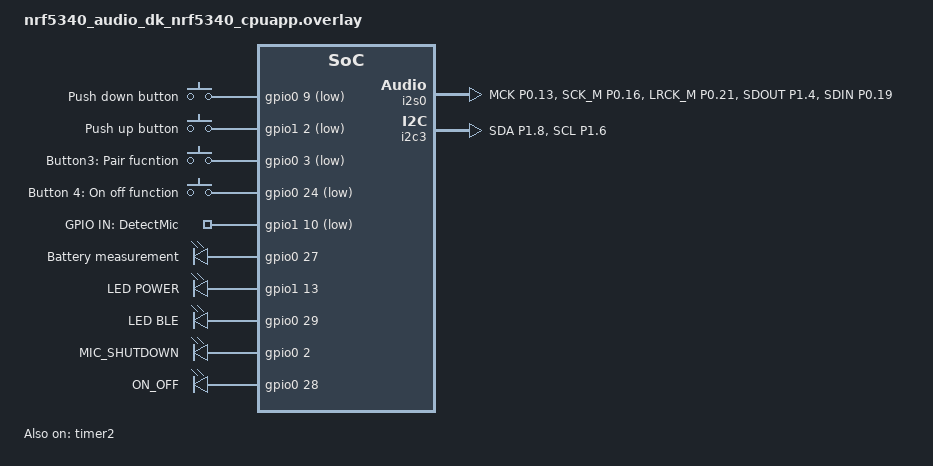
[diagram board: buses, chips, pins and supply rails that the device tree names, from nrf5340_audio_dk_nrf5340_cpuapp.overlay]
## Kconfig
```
#
# Copyright (c) 2018 Nordic Semiconductor ASA
#
# SPDX-License-Identifier: LicenseRef-Nordic-5-Clause
#

menuconfig NRF5340_AUDIO
	 bool "nRF5340 Audio [EXPERIMENTAL]"
	 select EXPERIMENTAL

if NRF5340_AUDIO

config AUDIO_DEV
	int "Select which device type to compile for. 1=HEADSET or 2=GATEWAY"
	range 1 2
	default 1
	help
	  Setting this variable to 1 selects that the project is compiled
	  as a HEADSET device.
	  Setting to 2 will compile as a GATEWAY.
config AUDIO_HARDWARE_CODEC
	int "Select which codec type is for. 1=ES8311 or 2=ES8388"
	range 1 2
	default 1
	help
	  Setting this variable to 1 selects that the project is compiled
	  as a ES8311 device.
	  Setting to 2 will compile as a ES8388.

choice NRF5340_AUDIO_TRANSPORT_MODE
	prompt "Choose BIS or CIS for ISO transport"
	default TRANSPORT_CIS if WALKIE_TALKIE_DEMO
	default TRANSPORT_CIS

config TRANSPORT_BIS
	bool "Use BIS (Broadcast Isochronous Stream)"

config TRANSPORT_CIS
	bool "Use CIS (Connected Isochronous Stream)"

endchoice

#----------------------------------------------------------------------------#
rsource "Kconfig.defaults"
rsource "src/audio/Kconfig"
rsource "src/bluetooth/Kconfig"
rsource "src/drivers/Kconfig"
rsource "src/events/Kconfig"
rsource "src/modules/Kconfig"
rsource "src/utils/Kconfig"
rsource "dfu/conf/Kconfig.dfu"

#----------------------------------------------------------------------------#
menu "Logging"

module = MAIN
module-str = main
source "subsys/logging/Kconfig.template.log_config"

config PRINT_STACK_USAGE_MS
	depends on THREAD_ANALYZER && INIT_STACKS
	int "Print stack usage every x milliseconds"
	default 5000

endmenu # Log levels

#----------------------------------------------------------------------------#
endif # NRF5340_AUDIO

source "Kconfig.zephyr"
```

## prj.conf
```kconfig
#
# Copyright (c) 2022 Nordic Semiconductor ASA
#
# SPDX-License-Identifier: LicenseRef-Nordic-5-Clause
#

# nRF5340 Audio
CONFIG_NRF5340_AUDIO=y

# General
CONFIG_AUDIO_DEV=2
CONFIG_DEBUG_INFO=y
CONFIG_ASSERT=y
CONFIG_STACK_USAGE=y
CONFIG_THREAD_RUNTIME_STATS=y
CONFIG_STACK_SENTINEL=y
CONFIG_INIT_STACKS=y
CONFIG_TRANSPORT_BIS=y
CONFIG_TRANSPORT_CIS=n
CONFIG_AUDIO_HARDWARE_CODEC=2
CONFIG_BIS_STEREO_HEADSET=y

CONFIG_WATCHDOG=y
CONFIG_WDT_NRFX=y
CONFIG_NRFX_WDT0=y

CONFIG_BLE_CONN_TX_POWER_NEG_40DBM=y
CONFIG_BLE_ADV_TX_POWER_NEG_40DBM=y

#CONFIG_BT_CTRL=y
# CONFIG_BT_HCI_VS_EXT=y
# CONFIG_BT_CTLR=y
# CONFIG_BT_CTLR_TX_PWR_DYNAMIC_CONTROL=y
# Uart driver
CONFIG_SERIAL=y

# Logging
CONFIG_LOG=y
CONFIG_NEWLIB_LIBC_FLOAT_PRINTF=y
CONFIG_LOG_TAG_MAX_LEN=2
CONFIG_LOG_TAG_DEFAULT="--"
CONFIG_LOG_INFO_COLOR_GREEN=y
CONFIG_LOG_BUFFER_SIZE=8192

#CONFIG_LOG_BACKEND_RTT_BUFFER_SIZE=4096
# Console related defines
CONFIG_CONSOLE=y
CONFIG_RTT_CONSOLE=y
#CONFIG_UART_CONSOLE=n
# Shell related defines
CONFIG_SHELL=y
CONFIG_KERNEL_SHELL=y
CONFIG_USE_SEGGER_RTT=y
## Disable logs on RTT
#CONFIG_SHELL_RTT_INIT_LOG_LEVEL_NONE=n
CONFIG_SHELL_BACKEND_RTT=n
CONFIG_SHELL_BACKEND_SERIAL=n
CONFIG_SHELL_VT100_COLORS=y
CONFIG_SHELL_STACK_SIZE=1024
CONFIG_SHELL_CMD_BUFF_SIZE=128
## Reduce shell memory usage
CONFIG_SHELL_WILDCARD=n
CONFIG_SHELL_HELP_ON_WRONG_ARGUMENT_COUNT=n
CONFIG_SHELL_STATS=n
CONFIG_SHELL_CMDS=n
CONFIG_SHELL_HISTORY=y

# Turn off default shell commands
CONFIG_I2C_SHELL=n
#CONFIG_HWINFO_SHELL=n
CONFIG_CLOCK_CONTROL_NRF_SHELL=n
CONFIG_FLASH_SHELL=n
CONFIG_DEVICE_SHELL=n

# Suppress err msg from sd_check_card_type. Because SPI_SDHC has no card presence method,
# assume card is in slot. Thus error message is always shown if card is not inserted

CONFIG_AUDIO_SOURCE_I2S=y
CONFIG_AUDIO_SOURCE_USB=n
# CONFIG_STREAM_BIDIRECTIONAL=y
# CONFIG_WALKIE_TALKIE_DEMO=y

#config clock to run first 
CONFIG_CLOCK_CONTROL_NRF_K32SRC_RC=y
CONFIG_BT_SMP=y
CONFIG_CLOCK_CONTROL_NRF_K32SRC_500PPM=y
CONFIG_I2C=y
CONFIG_I2C_NRFX=y
# CONFIG_NRFX_TWIM1=y
# CONFIG_NRFX_TWIM0=y
CONFIG_NRFX_SPIM4=n
CONFIG_NRFX_SPIM0=n
#CONFIG_NRFX_UART0=n

CONFIG_DEBUG=y
CONFIG_SDHC=n
CONFIG_BT_DEVICE_NAME_DYNAMIC=y
CONFIG_BT_DEVICE_NAME="MICBLE"
CONFIG_BT_DEVICE_NAME_MAX=48
CONFIG_ENCODER_STACK_SIZE=16384
CONFIG_LC3_ENC_CHAN_MAX=2
CONFIG_CPU_LOAD=y
CONFIG_CPU_LOAD_LOG_PERIODIC=y
CONFIG_CPU_LOAD_LOG_INTERVAL=2000
CONFIG_FIFO_TX_FRAME_COUNT=6
#CONFIG_BT_AUDIO_BROADCAST_24_2_1=y
CONFIG_LC3_BITRATE=32000

#CONFIG_BT_AUDIO_BROADCAST_24_2_2=y
#CONFIG_BLE_LOG_LEVEL=5


# Enable the BLE stack with GATT Client configuration
CONFIG_BT=y


#This is the config for gateway using peripheral NUS
####################################################
#Enable the NUS service
CONFIG_BT_NUS=y
CONFIG_BT_PERIPHERAL=y
CONFIG_BT_DEVICE_APPEARANCE=833
CONFIG_BT_MAX_CONN=1
CONFIG_BT_MAX_PAIRED=1
# This example requires more workqueue stack
CONFIG_SYSTEM_WORKQUEUE_STACK_SIZE=2048
CONFIG_BT_EXT_ADV_MAX_ADV_SET=2
######################################################



#This is the config for speaker using central nus to exchange key and value data
######################################################
# Enable the BLE stack with GATT Client configuration
CONFIG_BT=y
CONFIG_BT_CENTRAL=y
CONFIG_BT_SMP=y
CONFIG_BT_GATT_CLIENT=y

# Enable the BLE modules from NCS
# CONFIG_BT_NUS_CLIENT=y
# CONFIG_BT_SCAN=y
# CONFIG_BT_SCAN_FILTER_ENABLE=y
# CONFIG_BT_SCAN_UUID_CNT=1
# CONFIG_BT_GATT_DM=y
# CONFIG_HEAP_MEM_POOL_SIZE=2048
# CONFIG_BT_SCAN_NAME_CNT=1
# # ## Config flash to 
CONFIG_FLASH=y
CONFIG_FLASH_PAGE_LAYOUT=y


CONFIG_NVS=y
CONFIG_LOG=y
CONFIG_NVS_LOG_LEVEL_DBG=n
CONFIG_REBOOT=y
CONFIG_MPU_ALLOW_FLASH_WRITE=y

# CONFIG_BT_AUDIO_DEBUG_BROADCAST_SINK=y
# CONFIG_BT_AUDIO_DEBUG_BROADCAST_SINK=y

# CONFIG_BT_DEBUG_LOG=y
# CONFIG_BT_DEBUG_HCI_CORE=y
# CONFIG_BT_DEBUG_ISO=y

#CONFIG_BT_AUTO_PHY_UPDATE=y
# ######################################################

#CONFIG_AUDIO_DFU_ENABLE=y
#CONFIG_AUDIO_DFU_ENABLE=y
# CONFIG_MCUMGR_CMD_IMG_MGMT=y
# CONFIG_MCUMGR_CMD_OS_MGMT=y
# CONFIG_AUDIO_DFU=1
# # CONFIG_PCD_APP=y
# # CONFIG_PCD_USE_CONSTANTS=y
# CONFIG_BOOTLOADER_MCUBOOT=y
#CONFIG_PCD_CMD_ADDRESS=
```

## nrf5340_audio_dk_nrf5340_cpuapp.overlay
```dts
// To get started, press Ctrl+Space to bring up the completion menu and view the available nodes.

// You can also use the buttons in the sidebar to perform actions on nodes.
// Actions currently available include:

// * Enabling / disabling the node
// * Adding the bus to a bus
// * Removing the node
// * Connecting ADC channels

// For more help, browse the DeviceTree documentation at https://docs.zephyrproject.org/latest/guides/dts/index.html
// You can also visit the nRF DeviceTree extension documentation at https://nrfconnect.github.io/vscode-nrf-connect/devicetree/nrfdevicetree.html
/{
	// leds:	leds {
	// 	rgb1_blue: led_2 {
	// 		gpios = <&gpio0 25 GPIO_ACTIVE_HIGH>;
	// 		label = "0 LED_RGB_BLUE";
	// 	};
	// };
	buttons {
		compatible = "gpio-keys";
		button_1_vol_dn: button_1_vol_dn {
			gpios = <&gpio0 9 (GPIO_ACTIVE_LOW)>;
			label = "Push down button";
		};
		button_2_vol_up: button_2_vol_up {
			gpios = <&gpio1 2 (GPIO_ACTIVE_LOW)>;
			label = "Push up button";
		};
		button_3_pair: button3_pair {
			gpios = <&gpio0 3 (GPIO_ACTIVE_LOW)>;
			label = "Button3: Pair fucntion";
		};
		button_4_on_off: button4_on_off {
			gpios = <&gpio0 24 (GPIO_ACTIVE_LOW|GPIO_PULL_DOWN)>;
			label = "Button 4: On off function";
		};
		line_in_detect: line_in_detect{
			gpios = <&gpio1 10 (GPIO_ACTIVE_LOW)>;
			label = "GPIO IN: DetectMic";
		};
	};
	battery: battery
	{
		compatible = "gpio-leds";
		bat_measure: bat_measure
		{
			//compatible = "gpio-leds";
			gpios = <&gpio0 27 GPIO_ACTIVE_HIGH>;
			label = "Battery measurement";
		};
	};
    user_leds:	user_leds {
        compatible = "gpio-leds";
        led_pwr: led_power{
            gpios = <&gpio1 13 GPIO_ACTIVE_HIGH>;
            label = "LED POWER";
        };
        led_ble: led_bluetooth{
            gpios = <&gpio0 29 GPIO_ACTIVE_HIGH>;
            label = "LED BLE";
        };


    };
	inout: inout{
		compatible = "gpio-leds";
		mic_shutdown: mic_shutdown{
			gpios = <&gpio0 2 GPIO_ACTIVE_HIGH>;
			label = "MIC_SHUTDOWN";
		};
		on_off_control: on_off_control{
			gpios = <&gpio0 28 GPIO_ACTIVE_HIGH>;
			//lable = "ON_OFF";
			label = "ON_OFF";
		};
	};
     /delete-node/nrf5340_audio_dk;
    // /delete-node/nrf5340_audio_dk;
    aliases
     {
        /delete-property/led0;
        led0 = &led_pwr;
        led1 = &led_ble;
        sw0 = &button_1_vol_dn;
		sw1 = &button_2_vol_up;
		sw2 = &button_3_pair;
		sw3 = &button_4_on_off;
	    mic = &mic_shutdown;
		linedet = &line_in_detect;
		onoff = &on_off_control;
     };
};


&pinctrl{
    i2s_user: i2s0_user
    {
		group1 {
			psels = <NRF_PSEL(I2S_MCK, 0, 13)>;
			nordic,drive-mode = <NRF_DRIVE_H0H1>;
		};
		group2 {
			psels = <NRF_PSEL(I2S_SCK_M, 0, 16)>,
				<NRF_PSEL(I2S_LRCK_M, 0, 21)>,
				<NRF_PSEL(I2S_SDOUT, 1, 4)>,
				<NRF_PSEL(I2S_SDIN, 0, 19)>;
		};
    };
	i2c1_default: i2c1_default {
		group1 {
			psels = <NRF_PSEL(TWIM_SDA, 1, 2)>,
				<NRF_PSEL(TWIM_SCL, 1, 4)>;
            bias-pull-up;
			
		};
	};
    i2c0_default: i2c0_default {
		group1 {
			psels = <NRF_PSEL(TWIM_SDA, 1, 8)>,
				<NRF_PSEL(TWIM_SCL, 1, 4)>;
            bias-pull-up;
			
		};
	};
    i2c3_default: i2c3_default {
		group1 {
			psels = <NRF_PSEL(TWIM_SDA, 1, 8)>,
				<NRF_PSEL(TWIM_SCL, 1, 6)>;
            //bias-pull-up;
			
		};
	};
    i2c3_sleep: i2c3_sleep {
		group1 {
			psels = <NRF_PSEL(TWIM_SDA, 1, 8)>,
				<NRF_PSEL(TWIM_SCL, 1, 6)>;
            //bias-pull-up;
            low-power-enable;
		};
	};
    i2c4_default: i2c4_default {
		group1 {
			psels = <NRF_PSEL(TWIM_SDA, 1, 8)>,
				<NRF_PSEL(TWIM_SCL, 1, 9)>;
            bias-pull-up;
			
		};
	};
    
	i2c1_sleep: i2c1_sleep {
		group1 {
			psels = <NRF_PSEL(TWIM_SDA, 1, 6)>,
				<NRF_PSEL(TWIM_SCL, 1, 8)>;
			low-power-enable;
		};
	};

};
&i2s0 {
	compatible = "nordic,nrf-i2s";
	status = "okay";
    pinctrl-0 = <&i2s_user>;
    pinctrl-names = "default";
};
&i2c3 {
    compatible = "nordic,nrf-twim";
    status = "okay";
    pinctrl-0 = <&i2c3_default>;
    pinctrl-1 =  <&i2c3_sleep>;
    pinctrl-names = "default","sleep";
};
&i2c1 {
    status = "disabled";
};

&uart0 {
    status = "disabled";
	current-speed = <115200>;
	pinctrl-0 = <&uart0_default>;
    /delete-property/ pinctrl-1;
    /delete-property/ pinctrl-0;
    /delete-property/pinctrl-names;
};
&pwm0 {
	status = "disabled";
};

&timer0 {
	status = "disabled";
};

&timer1 {
	status = "disabled";
};

&timer2 {
	status = "okay";
};
```

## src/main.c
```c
/*
 * Copyright (c) 2018 Nordic Semiconductor ASA
 *
 * SPDX-License-Identifier: LicenseRef-Nordic-5-Clause
 */

#include <zephyr/kernel.h>
#include <zephyr/debug/stack.h>
#include <zephyr/device.h>
#include <string.h>

#include <zephyr/bluetooth/bluetooth.h>
#include <zephyr/settings/settings.h>

#include "macros_common.h"
#include "fw_info_app.h"
#include "led.h"
#include "button_handler.h"
#include "button_assignments.h"
#include "nrfx_clock.h"
#include "ble_core.h"
#include "power_module.h"
#include "sd_card.h"
#include "audio_system.h"
#include "channel_assignment.h"
#include "streamctrl.h"
#include "hw_output.h"
#include "ble_custom_nus.h"
#include "battery_measurement.h"
#include "ble_custom_nus_central.h"
#include "debug/cpu_load.h"
#include "ble_hci_vsc.h"
//#include <bluetooth/hci_vs.h>
#include <zephyr/bluetooth/hci.h>
#include <zephyr/bluetooth/hci_vs.h>
#include "app_wdt.h"
#if defined(CONFIG_AUDIO_DFU_ENABLE)
#include "dfu_entry.h"
#endif

#include <zephyr/logging/log.h>
LOG_MODULE_REGISTER(main, CONFIG_MAIN_LOG_LEVEL);

#if defined(CONFIG_INIT_STACKS)
/* Used for printing stack usage */
extern struct k_thread z_main_thread;
#endif /* defined(CONFIG_INIT_STACKS) */

static atomic_t ble_core_is_ready = (atomic_t) false;
static int hfclock_config_and_start(void)
{
	int ret;

	/* Use this to turn on 128 MHz clock for cpu_app */
	ret = nrfx_clock_divider_set(NRF_CLOCK_DOMAIN_HFCLK, NRF_CLOCK_HFCLK_DIV_1);

	ret -= NRFX_ERROR_BASE_NUM;
	if (ret) {
		return ret;
	}

	nrfx_clock_hfclk_start();
	while (!nrfx_clock_hfclk_is_running()) {
	}

	return 0;
}

static int bonding_clear_check(void)
{
	// int ret;
	// bool pressed;

	// // ret = button_pressed(BUTTON_5, &pressed);
	// // if (ret) {
	// // 	return ret;
	// // }

	// if (pressed) {
	// 	if (IS_ENABLED(CONFIG_SETTINGS)) {
	// 		LOG_INF("Clearing all bonds");
	// 		bt_unpair(BT_ID_DEFAULT, NULL);
	// 	}
	// }
	return 0;
}

static int channel_assign_check(void)
{
#if (CONFIG_AUDIO_DEV == HEADSET) && CONFIG_AUDIO_HEADSET_CHANNEL_RUNTIME
	int ret;
	bool pressed;

	ret = button_pressed(BUTTON_VOLUME_DOWN, &pressed);
	if (ret) {
		return ret;
	}

	if (pressed) {
		channel_assignment_set(AUDIO_CH_L);
		return 0;
	}

	ret = button_pressed(BUTTON_VOLUME_UP, &pressed);
	if (ret) {
		return ret;
	}

	if (pressed) {
		channel_assignment_set(AUDIO_CH_R);
		return 0;
	}
#endif

	return 0;
}

/* Callback from ble_core when the ble subsystem is ready */
void on_ble_core_ready(void)
{
	int ret;

	(void)atomic_set(&ble_core_is_ready, (atomic_t) true);

	if (IS_ENABLED(CONFIG_SETTINGS)) {
		settings_load();

		ret = bonding_clear_check();
		ERR_CHK(ret);
	}
}

void main(void)
{
	int ret;

	LOG_INF("nRF5340 APP core started");

	ret = hfclock_config_and_start();
	ERR_CHK(ret);

	ret = app_wdt_enable();
	ERR_CHK(ret);

	ret = button_handler_init();
	ERR_CHK(ret);

	ret = hw_output_init();
	ERR_CHK(ret);
	hw_output_set_level(GPIO_ON_OFF_CTRL, 1);

	ret = fw_info_app_print();
	ERR_CHK(ret);
	channel_assignment_init();

	ret = channel_assign_check();
	ERR_CHK(ret);

	ret = led_init();
	ERR_CHK(ret);
    app_led_turn_on_device();
	led_on(LED_POWER, 10);
	
	ret = battery_measurement_init();
	ERR_CHK(ret);
// #if defined(CONFIG_AUDIO_DFU_ENABLE)
// 	/* Check DFU BTN before Initialize BLE */
// 	dfu_entry_check();
// #endif

	/* Initialize BLE, with callback for when BLE is ready */
	ret = ble_core_init(on_ble_core_ready);
	ERR_CHK(ret);

	/* Wait until ble_core/NET core is ready */
	while (!(bool)atomic_get(&ble_core_is_ready)) {
		(void)k_sleep(K_MSEC(100));
	}

	/*Init Nus custom for pairing feature*/
	ultilities_load_mac(); // load device mac address
	pair_ultilities_flash_init();
	
#if(CONFIG_AUDIO_DEV == 2 && IS_ENABLED(CONFIG_TRANSPORT_BIS))
	ble_custom_nus_init();
	pair_ultitlities_set_device_name(CONFIG_BT_DEVICE_NAME);
	
	//ble_hci_vsc_set_adv_tx_pwr();
#elif(CONFIG_AUDIO_DEV == 1 && IS_ENABLED(CONFIG_TRANSPORT_BIS))
	ble_custom_nus_central_init();
	pair_ultilities_flash_init();
	uint8_t gw_if[6];
	if(pair_ultilities_flash_read_gateway_info(gw_if) == 0)
	{
		LOG_HEXDUMP_INF(gw_if, sizeof(gw_if), "Gw: info");
	}
	else 
	{
		LOG_WRN("NO gateway info");
		/* code */
	}
#endif
	audio_system_init();

	ret = streamctrl_start();
	ble_hci_vsc_set_radio_high_pwr_mode(false);
	ble_hci_vsc_set_adv_tx_pwr(BLE_HCI_VSC_TX_PWR_Neg40dBm);
	
	ble_hci_vsc_set_pri_ext_adv_max_tx_pwr(BLE_HCI_VSC_TX_PWR_Neg40dBm);

	cpu_load_init();
	while (1) {
		streamctrl_event_handler();
		STACK_USAGE_PRINT("main", &z_main_thread);
	}
}
```
